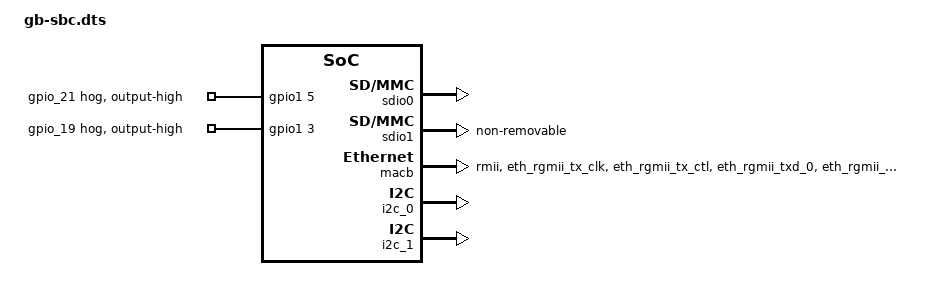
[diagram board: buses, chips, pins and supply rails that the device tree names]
// SPDX-License-Identifier: GPL-2.0
/*
 * dts file for Hailo15 SoC
 *
 * Copyright (c) 2019-2023 Hailo Technologies Ltd. All rights reserved.
 */

#include "hailo15-base.dtsi"
#include "hailo15_ddr_configuration.dtsi"

#include "hailo15_ddr_MT53E512M32D1-046_regconfig_2GB.dtsi"
//#include "hailo15_ddr_MT53E2G32D4DE-046_regconfig_8GB.dtsi"
//#include "hailo15_ddr_MT53E1G32D2FW-046_regconfig_ca_odtb_pu_4GB.dtsi"

#include <dt-bindings/gpio/gpio.h>

&sdio0 {
    status = "okay";
    sdhci-caps = <0 0x01000000>; // Force VOLT33 capability
    phy-config {
            card-is-emmc = <0x0>;
            cmd-pad-values = <0x1 0x3 0x1 0x1>; // txslew_ctrl_n, txslew_ctrl_p, weakpull_enable, rxsel
            dat-pad-values = <0x1 0x3 0x1 0x1>; // txslew_ctrl_n, txslew_ctrl_p, weakpull_enable, rxsel
            rst-pad-values = <0x1 0x3 0x1 0x1>; // txslew_ctrl_n, txslew_ctrl_p, weakpull_enable, rxsel
            clk-pad-values = <0x1 0x3 0x0 0x1>; // txslew_ctrl_n, txslew_ctrl_p, weakpull_enable, rxsel
            sdclkdl-cnfg = <0x1 0x7F>; //extdly_en, cckdl_dc
            drive-strength = <0x9 0x8>; //pad_sp, pad_sn
            u-boot,dm-spl;
    };
};
&sdio1 {
    status = "okay";
    non-removable;
    phy-config {
            card-is-emmc = <0x1>;
            cmd-pad-values = <0x2 0x2 0x1 0x1>; // txslew_ctrl_n, txslew_ctrl_p, weakpull_enable, rxsel
            dat-pad-values = <0x2 0x2 0x1 0x1>; // txslew_ctrl_n, txslew_ctrl_p, weakpull_enable, rxsel
            rst-pad-values = <0x2 0x2 0x1 0x1>; // txslew_ctrl_n, txslew_ctrl_p, weakpull_enable, rxsel
            clk-pad-values = <0x2 0x2 0x0 0x0>; // txslew_ctrl_n, txslew_ctrl_p, weakpull_enable, rxsel
            sdclkdl-cnfg = <0x1 0x59>; //extdly_en, cckdl_dc
            drive-strength = <0x9 0x8>; //pad_sp, pad_sn 
            u-boot,dm-spl;
    };
};

&macb {
    status = "okay";
    pinctrl-names = "default";
    pinctrl-0 = <&pinctrl_eth>;
    hailo,tx-clock-delay = <6>;
    phy-mode = "rmii";
};

&pinctrl {
    pinctrl_eth: eth {
        pins = "eth_rgmii_tx_clk",
               "eth_rgmii_tx_ctl",
               "eth_rgmii_txd_0",
               "eth_rgmii_txd_1",
               "eth_rgmii_txd_2",
               "eth_rgmii_txd_3";
        drive-strength = <2>;
    };
};

&i2c_0 {
    status = "okay";
};

&i2c_1 {
    status = "okay";
};

&gpio0 {
    gpio-ranges = <&pinctrl 0 0 16>;

    gpio-line-names =
        "NC",
        "NC",
        "NC",
        "NC",
        "SEN_MCU_RX",
        "MCU_ZB_RX",
        "SEN_MCU_TX",
        "MCU_ZB_TX",
        "NC",
        "SD_SEL",
        "MCU_TCK",
        "MCU_TDIO_RST_N",
        "NC",
        "ZIGBEE_RST_N",
        "NC",
        "NC";
};

&gpio1 {
    gpio-ranges = <&pinctrl 0 16 16>;

    gpio-line-names =
        "IP_ID0",
        "IP_ID1",
        "AUD_RST_N",
        "AUD_EN",
        "SEN_RST_N",
        "ETH_RST_N",
        "NC",
        "NR_ON_OFF",
        "GYRO_INT_N",
        "NC",
        "NC",
        "NC",
        "NC",
        "TCK_RTSn_SoC",
        "TDIO_DTRn_SoC",
        "NC";

    eth_rst_n {

        gpio-hog;

        gpios = <5 GPIO_ACTIVE_HIGH>;

        output-high;

        line-name = "gpio_21";

    };

    //Temp solution to control the power of audio EN which is also used for ethernet power, this is is to prevent HW work around only.
    aud_eth_power_n {

        gpio-hog;

        gpios = <3 GPIO_ACTIVE_HIGH>;

        output-high;

        line-name = "gpio_19";

    };

};
